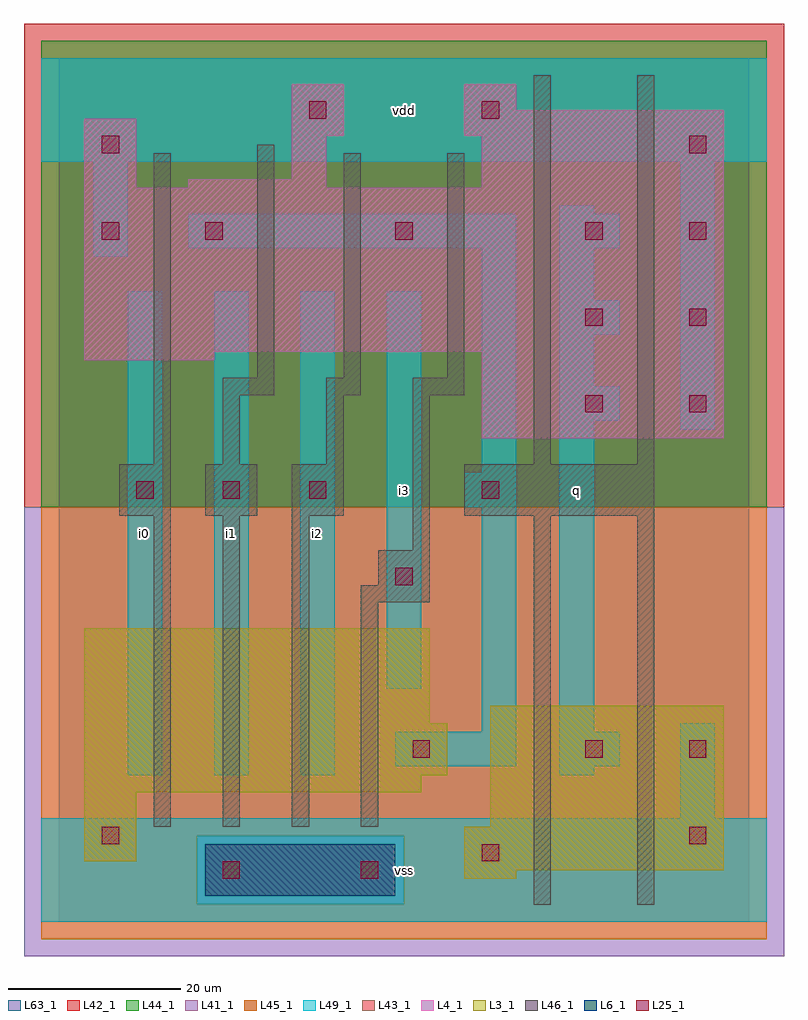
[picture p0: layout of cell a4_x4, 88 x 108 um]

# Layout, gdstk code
import gdstk
lib = gdstk.Library(unit=1e-6, precision=1e-09)
def R(c, l, rs):  # rectangles x0, y0, x1, y1
    for r in rs: c.add(gdstk.rectangle(r[:2], r[2:], *l))
def A(c, l, x, y, w, h, nx, ny, dx, dy):  # array of equal rectangles
    R(c, l, [(x+i*dx, y+j*dy, x+i*dx+w, y+j*dy+h) for i in range(nx) for j in range(ny)])
L3_1 = (3, 1)
L4_1 = (4, 1)
L6_1 = (6, 1)
L25_1 = (25, 1)
L41_1 = (41, 1)
L42_1 = (42, 1)
L43_1 = (43, 1)
L44_1 = (44, 1)
L45_1 = (45, 1)
L46_1 = (46, 1)
L49_1 = (49, 1)
L63_1 = (63, 1)

a4_x4 = lib.new_cell('a4_x4')
R(a4_x4, L3_1, [(47,5,53,6), (47,6,77,11), (3,7,9,15), (50,11,77,25), (3,15,42,17), (3,17,45,23), (3,23,43,34)])
R(a4_x4, L4_1, [(49,56,77,66), (3,65,18,66), (3,66,77,85), (3,85,9,93), (15,85,31,86), (49,85,77,91), (27,86,31,91), (27,91,33,97), (47,91,77,94), (47,94,53,97)])
R(a4_x4, L6_1, [(17,3,39,9), (17,3,39,9)])
A(a4_x4, L25_1, 9, 49, 2, 2, 3, 1, 10, 0)
A(a4_x4, L25_1, 73, 59, 2, 2, 1, 4, 0, 10)
A(a4_x4, L25_1, 17, 79, 2, 2, 3, 1, 22, 0)
R(a4_x4, L25_1, [(19,5,21,7), (35,5,37,7), (49,7,51,9), (5,9,7,11), (73,9,75,11), (41,19,43,21), (61,19,63,21), (73,19,75,21), (39,39,41,41), (49,49,51,51), (61,59,63,61), (61,69,63,71), (5,79,7,81), (5,89,7,91), (29,93,31,95), (49,93,51,95)])
R(a4_x4, L41_1, [(-4,-4,84,48)])
R(a4_x4, L42_1, [(-4,48,84,104)])
R(a4_x4, L43_1, [(17,3,39,9), (47,5,53,6), (47,6,77,11), (3,7,9,15), (50,11,77,25), (3,15,42,17), (3,17,45,23), (3,23,43,34), (49,56,77,66), (3,65,18,66), (3,66,77,85), (3,85,9,93), (15,85,31,86), (49,85,77,91), (27,86,31,91), (27,91,33,97), (47,91,77,94), (47,94,53,97)])
R(a4_x4, L44_1, [(16,2,40,10), (-2,48,82,102)])
R(a4_x4, L45_1, [(-2,-2,82,2), (-2,2,16,10), (40,2,82,10), (-2,10,82,48)])
A(a4_x4, L46_1, 11, 11, 2, 36, 3, 1, 8, 0)
A(a4_x4, L46_1, 7, 47, 6, 6, 3, 1, 10, 0)
R(a4_x4, L46_1, [(55,2,57,47), (67,2,69,47), (35,11,37,37), (35,37,43,39), (37,39,43,43), (41,43,43,61), (47,47,69,53), (11,53,13,89), (19,53,21,61), (31,53,33,61), (55,53,57,98), (67,53,69,98), (19,61,25,63), (31,61,35,63), (41,61,47,63), (23,63,25,90), (33,63,35,89), (45,63,47,89)])
A(a4_x4, L49_1, 8, 17, 4, 56, 3, 1, 10, 0)
A(a4_x4, L49_1, 58, 58, 7, 4, 1, 3, 0, 10)
R(a4_x4, L49_1, [(-2,0,82,12), (72,12,76,23), (58,17,62,18), (39,18,53,22), (58,18,65,22), (49,22,53,48), (58,22,62,58), (38,27,42,73), (47,48,53,52), (49,52,53,78), (72,57,76,88), (58,62,62,68), (58,72,62,78), (4,77,8,88), (15,78,53,82), (58,82,62,83), (-2,88,82,100)])
R(a4_x4, L63_1, [(0,0,80,100)])
a4_x4.add(gdstk.Label('i0', (10,45), layer=49, texttype=1))
a4_x4.add(gdstk.Label('i1', (20,45), layer=49, texttype=1))
a4_x4.add(gdstk.Label('i2', (30,45), layer=49, texttype=1))
a4_x4.add(gdstk.Label('vss', (40,6), layer=49, texttype=1))
a4_x4.add(gdstk.Label('i3', (40,50), layer=49, texttype=1))
a4_x4.add(gdstk.Label('vdd', (40,94), layer=49, texttype=1))
a4_x4.add(gdstk.Label('q', (60,50), layer=49, texttype=1))

lib.write_gds('a4_x4.gds')
